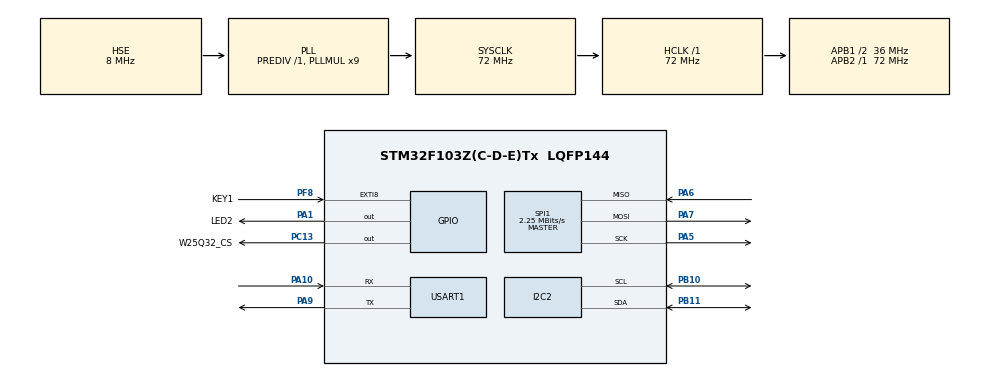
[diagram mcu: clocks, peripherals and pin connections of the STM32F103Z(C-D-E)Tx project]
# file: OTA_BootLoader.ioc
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Mcu.Family=STM32F1
Mcu.Name=STM32F103Z(C-D-E)Tx
Mcu.Package=LQFP144
NVIC.EXTI9_5_IRQn=true\:4\:0\:true\:false\:true\:true\:true\:true
NVIC.PriorityGroup=NVIC_PRIORITYGROUP_4
NVIC.USART1_IRQn=true\:5\:0\:true\:false\:true\:true\:true\:true
OSC_IN.Mode=HSE-External-Oscillator
OSC_IN.Signal=RCC_OSC_IN
OSC_OUT.Mode=HSE-External-Oscillator
OSC_OUT.Signal=RCC_OSC_OUT
PA1.GPIO_Label=LED2
PA1.GPIO_Speed=GPIO_SPEED_FREQ_HIGH
PA1.PinState=GPIO_PIN_SET
PA1.Signal=GPIO_Output
PA10.Mode=Asynchronous
PA10.Signal=USART1_RX
PA13.Mode=Serial_Wire
PA13.Signal=SYS_JTMS-SWDIO
PA14.Mode=Serial_Wire
PA14.Signal=SYS_JTCK-SWCLK
PA5.Mode=Full_Duplex_Master
PA5.Signal=SPI1_SCK
PA6.Mode=Full_Duplex_Master
PA6.Signal=SPI1_MISO
PA7.Mode=Full_Duplex_Master
PA7.Signal=SPI1_MOSI
PA9.Mode=Asynchronous
PA9.Signal=USART1_TX
PB10.Mode=I2C
PB10.Signal=I2C2_SCL
PB11.Mode=I2C
PB11.Signal=I2C2_SDA
PC13-TAMPER-RTC.GPIO_Label=W25Q32_CS
PC13-TAMPER-RTC.GPIO_Speed=GPIO_SPEED_FREQ_HIGH
PC13-TAMPER-RTC.PinState=GPIO_PIN_SET
PC13-TAMPER-RTC.Signal=GPIO_Output
PC14-OSC32_IN.Mode=LSE-External-Oscillator
PC14-OSC32_IN.Signal=RCC_OSC32_IN
PC15-OSC32_OUT.Mode=LSE-External-Oscillator
PC15-OSC32_OUT.Signal=RCC_OSC32_OUT
PF8.GPIO_Label=KEY1
PF8.GPIO_ModeDefaultEXTI=GPIO_MODE_IT_FALLING
PF8.GPIO_PuPd=GPIO_PULLUP
PF8.Signal=GPXTI8
ProjectManager.HeapSize=0x200
ProjectManager.StackSize=0x400
ProjectManager.TargetToolchain=MDK-ARM V5.32
RCC.AHBFreq_Value=72000000
RCC.APB1CLKDivider=RCC_HCLK_DIV2
RCC.APB1Freq_Value=36000000
RCC.APB1TimFreq_Value=72000000
RCC.APB2Freq_Value=72000000
RCC.APB2TimFreq_Value=72000000
RCC.HCLKFreq_Value=72000000
RCC.PLLMUL=RCC_PLL_MUL9
RCC.PLLSourceVirtual=RCC_PLLSOURCE_HSE
RCC.SYSCLKFreq_VALUE=72000000
RCC.SYSCLKSource=RCC_SYSCLKSOURCE_PLLCLK
RCC.USBFreq_Value=72000000
SPI1.BaudRatePrescaler=SPI_BAUDRATEPRESCALER_32
SPI1.CalculateBaudRate=2.25 MBits/s
SPI1.Direction=SPI_DIRECTION_2LINES
SPI1.Mode=SPI_MODE_MASTER
SPI1.VirtualType=VM_MASTER
USART1.VirtualMode=VM_ASYNC
board=custom

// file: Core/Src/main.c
/* USER CODE BEGIN Header */
/**
 ******************************************************************************
 * @file           : main.c
 * @brief          : Main program body
 ******************************************************************************
 * @attention
 *
 * Copyright (c) 2026 STMicroelectronics.
 * All rights reserved.
 *
 * This software is licensed under terms that can be found in the LICENSE file
 * in the root directory of this software component.
 * If no LICENSE file comes with this software, it is provided AS-IS.
 *
 ******************************************************************************
 */
/* USER CODE END Header */
#include "main.h"
#include "i2c.h"
#include "spi.h"
#include "usart.h"
#include "gpio.h"

/* USER CODE BEGIN Includes */
#include "string.h"
#include "int_boot_loader.h"
#include "app_bootloader_w24c02.h"
#include "Int_w25q32.h"
#include "int_w24c02.h"
/* USER CODE END Includes */

/* USER CODE BEGIN PD */
#define RX_BUF_SIZE 256
/* USER CODE END PD */

void SystemClock_Config(void);

int main(void)
{

  /* MCU Configuration--------------------------------------------------------*/

  /* Reset of all peripherals, Initializes the Flash interface and the Systick. */
  HAL_Init();

  /* Configure the system clock */
  SystemClock_Config();

  /* Initialize all configured peripherals */
  MX_GPIO_Init();
  MX_USART1_UART_Init();
  MX_I2C2_Init();
  MX_SPI1_Init();
  /* USER CODE BEGIN 2 */
  printf("wcnm\n");
  // 读取芯片型号
  uint8_t u_mf = 0;
  uint16_t u_id = 0;
  Int_w25q32_ReadID(&u_mf, &u_id);
  printf("u_mf:%d,u_id:%d\n", u_mf, u_id);

  // 段擦除 sector
  // Int_w25q32_EraseSector(0, 0);

  // 写入数据
  // uint8_t data[11] = "hello world";
  // Int_w25q32_WriteData(0, 0, 0, 0xFE, data, 11);

  // 读取数据
  uint8_t read_data[12] = {0};
  Int_w25q32_ReadData(0, 0, 0, 0x00, read_data, 11);
  printf("read_data:%s\n", read_data);

  // 检查是否需要更新
  App_bootloader_check_update();

  // 根据状态判断是否需要更新
  App_bootloader_is_need_update();
  // 说明需要更新
  // 执行更新操作

  // 执行跳转程序
  App_bootloader_jump_program();

  // 初始化bootloader
  // App_bootloader_Init();

  // Int 初始化bootloader
  // App_bootloader_Init();

  // Int_boot_loader_Init();
  /* USER CODE END 2 */

  /* Infinite loop */
  /* USER CODE BEGIN WHILE */
  while (1)
  {
    // HAL_Delay(3000);
    // // 灯闪烁
    // HAL_GPIO_TogglePin(LED2_GPIO_Port, LED2_Pin);

    // // 打印数据长度
    // printf("rx_len:%d\r\n", rx_len);
    // // 跳转到application程序复位中断
    // Int_boot_jump_to_application();

    /* USER CODE END WHILE */

    /* USER CODE BEGIN 3 */
    // App_bootloader_work();
  }
  /* USER CODE END 3 */
}

void SystemClock_Config(void)
{
  RCC_OscInitTypeDef RCC_OscInitStruct = {0};
  RCC_ClkInitTypeDef RCC_ClkInitStruct = {0};

  /** Initializes the RCC Oscillators according to the specified parameters
   * in the RCC_OscInitTypeDef structure.
   */
  RCC_OscInitStruct.OscillatorType = RCC_OSCILLATORTYPE_HSE;
  RCC_OscInitStruct.HSEState = RCC_HSE_ON;
  RCC_OscInitStruct.HSEPredivValue = RCC_HSE_PREDIV_DIV1;
  RCC_OscInitStruct.HSIState = RCC_HSI_ON;
  RCC_OscInitStruct.PLL.PLLState = RCC_PLL_ON;
  RCC_OscInitStruct.PLL.PLLSource = RCC_PLLSOURCE_HSE;
  RCC_OscInitStruct.PLL.PLLMUL = RCC_PLL_MUL9;
  if (HAL_RCC_OscConfig(&RCC_OscInitStruct) != HAL_OK)
  {
    Error_Handler();
  }

  /** Initializes the CPU, AHB and APB buses clocks
   */
  RCC_ClkInitStruct.ClockType = RCC_CLOCKTYPE_HCLK | RCC_CLOCKTYPE_SYSCLK | RCC_CLOCKTYPE_PCLK1 | RCC_CLOCKTYPE_PCLK2;
  RCC_ClkInitStruct.SYSCLKSource = RCC_SYSCLKSOURCE_PLLCLK;
  RCC_ClkInitStruct.AHBCLKDivider = RCC_SYSCLK_DIV1;
  RCC_ClkInitStruct.APB1CLKDivider = RCC_HCLK_DIV2;
  RCC_ClkInitStruct.APB2CLKDivider = RCC_HCLK_DIV1;

  if (HAL_RCC_ClockConfig(&RCC_ClkInitStruct, FLASH_LATENCY_2) != HAL_OK)
  {
    Error_Handler();
  }
}

void Error_Handler(void)
{
  __disable_irq();
  while (1)
  {
  }
}
